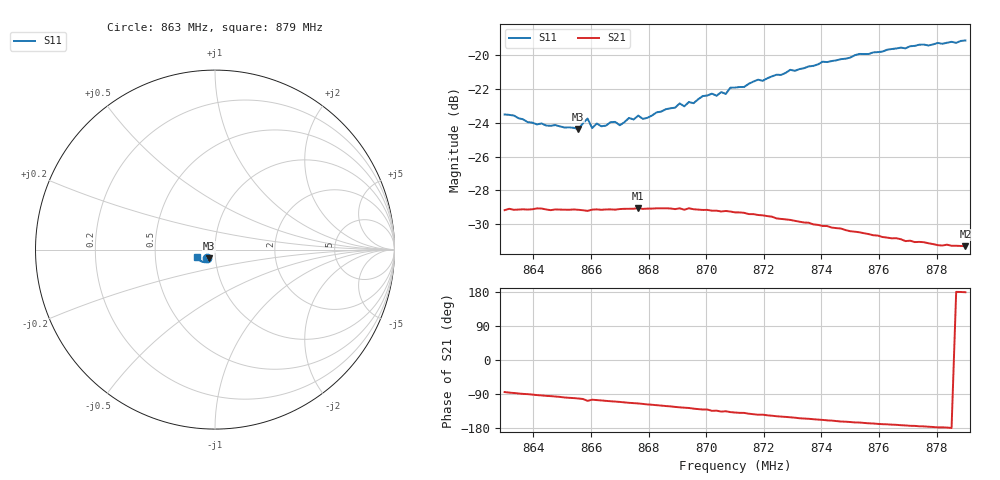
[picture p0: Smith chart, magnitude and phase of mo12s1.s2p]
# HZ S RI R 50
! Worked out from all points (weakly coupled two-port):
!   101 points, 863 MHz to 879 MHz, reference 50 ohm
!   highest |S21| = -29.05 dB at 867.64 MHz (marker M1); lowest = -31.3 dB at 879 MHz (marker M2)
!   lowest |S11| = -24.4 dB at 865.56 MHz (marker M3), VSWR 1.13, Z = 46.3 - j4.51 ohm
!   |S11| at or under -10 dB: start of sweep to end of sweep
!   S12 and S22 are empty: the file has one direction only
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8.63e8  -0.0455 -0.0488  0.00325 -0.0346  0 0  0 0
8.6412e8  -0.0407 -0.0472  -0.00156 -0.0352  0 0  0 0
8.6556e8  -0.036 -0.0485  -0.00699 -0.0342  0 0  0 0
8.6572e8  -0.0372 -0.0506  -0.00776 -0.0339  0 0  0 0
8.6588e8  -0.0397 -0.0514  -0.0105 -0.033  0 0  0 0
8.6604e8  -0.0346 -0.0501  -0.00889 -0.0338  0 0  0 0
8.662e8  -0.036 -0.0514  -0.00951 -0.0337  0 0  0 0
8.6636e8  -0.0348 -0.0508  -0.01 -0.0334  0 0  0 0
8.6684e8  -0.0343 -0.0533  -0.0117 -0.0329  0 0  0 0
8.67e8  -0.0337 -0.0521  -0.0124 -0.0328  0 0  0 0
8.6764e8  -0.034 -0.0568  -0.0147 -0.0321  0 0  0 0
8.678e8  -0.0333 -0.0556  -0.0153 -0.0316  0 0  0 0
8.6844e8  -0.0339 -0.059  -0.0178 -0.0304  0 0  0 0
8.6908e8  -0.0374 -0.0614  -0.0202 -0.0289  0 0  0 0
8.6956e8  -0.0369 -0.0619  -0.0217 -0.0275  0 0  0 0
8.6988e8  -0.0382 -0.0653  -0.0227 -0.0264  0 0  0 0
8.7068e8  -0.0389 -0.0662  -0.0246 -0.0244  0 0  0 0
8.7084e8  -0.0439 -0.067  -0.0254 -0.0233  0 0  0 0
8.71e8  -0.0452 -0.0662  -0.0257 -0.0226  0 0  0 0
8.7372e8  -0.0611 -0.07  -0.0289 -0.0127  0 0  0 0
8.7644e8  -0.0849 -0.0603  -0.0283 -0.0047  0 0  0 0
8.79e8  -0.103 -0.0397  -0.0272 0.000553  0 0  0 0
